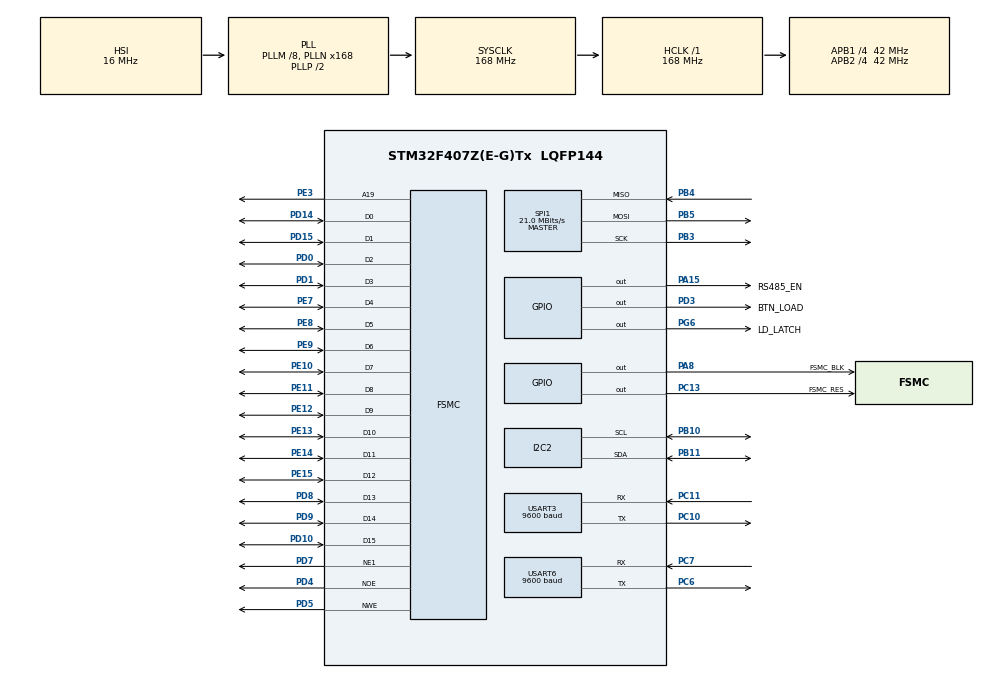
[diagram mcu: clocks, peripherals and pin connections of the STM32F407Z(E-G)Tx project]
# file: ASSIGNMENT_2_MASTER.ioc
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Dma.Request0=USART6_RX
Dma.USART6_RX.0.Direction=DMA_PERIPH_TO_MEMORY
Dma.USART6_RX.0.FIFOMode=DMA_FIFOMODE_DISABLE
Dma.USART6_RX.0.Instance=DMA2_Stream1
Dma.USART6_RX.0.MemDataAlignment=DMA_MDATAALIGN_BYTE
Dma.USART6_RX.0.MemInc=DMA_MINC_ENABLE
Dma.USART6_RX.0.Mode=DMA_CIRCULAR
Dma.USART6_RX.0.PeriphDataAlignment=DMA_PDATAALIGN_BYTE
Dma.USART6_RX.0.PeriphInc=DMA_PINC_DISABLE
Dma.USART6_RX.0.Priority=DMA_PRIORITY_LOW
FSMC.AddressSetupTime1=0xf
FSMC.BusTurnAroundDuration1=0
FSMC.DataSetupTime1=60
FSMC.ExtendedAddressSetupTime1=8
FSMC.ExtendedBusTurnAroundDuration1=0
FSMC.ExtendedDataSetupTime1=9
FSMC.ExtendedMode1=FSMC_EXTENDED_MODE_ENABLE
I2C2.OwnAddress=0
Mcu.Family=STM32F4
Mcu.Name=STM32F407Z(E-G)Tx
Mcu.Package=LQFP144
NVIC.DMA2_Stream1_IRQn=true\:0\:0\:false\:false\:true\:false\:true\:true
NVIC.I2C2_ER_IRQn=true\:0\:0\:false\:false\:true\:true\:true\:true
NVIC.I2C2_EV_IRQn=true\:0\:0\:false\:false\:true\:true\:true\:true
NVIC.PriorityGroup=NVIC_PRIORITYGROUP_4
NVIC.TIM2_IRQn=true\:0\:0\:false\:false\:true\:true\:true\:true
NVIC.USART3_IRQn=true\:0\:0\:false\:false\:true\:true\:true\:true
NVIC.USART6_IRQn=true\:0\:0\:false\:false\:true\:true\:true\:true
PA13.Mode=Serial_Wire
PA13.Signal=SYS_JTMS-SWDIO
PA14.Mode=Serial_Wire
PA14.Signal=SYS_JTCK-SWCLK
PA15.GPIO_Label=RS485_EN
PA15.Signal=GPIO_Output
PA8.GPIO_Label=FSMC_BLK
PA8.Signal=GPIO_Output
PB10.GPIO_Pu=GPIO_PULLUP
PB10.Mode=I2C
PB10.Signal=I2C2_SCL
PB11.GPIO_Pu=GPIO_PULLUP
PB11.Mode=I2C
PB11.Signal=I2C2_SDA
PB3.Mode=Full_Duplex_Master
PB3.Signal=SPI1_SCK
PB4.Mode=Full_Duplex_Master
PB4.Signal=SPI1_MISO
PB5.Mode=Full_Duplex_Master
PB5.Signal=SPI1_MOSI
PC10.Mode=Asynchronous
PC10.Signal=USART3_TX
PC11.Mode=Asynchronous
PC11.Signal=USART3_RX
PC13-ANTI_TAMP.GPIO_Label=FSMC_RES
PC13-ANTI_TAMP.Signal=GPIO_Output
PC6.Mode=Asynchronous
PC6.Signal=USART6_TX
PC7.Mode=Asynchronous
PC7.Signal=USART6_RX
PD0.Signal=FSMC_D2_DA2
PD1.Signal=FSMC_D3_DA3
PD10.Signal=FSMC_D15_DA15
PD14.Signal=FSMC_D0_DA0
PD15.Signal=FSMC_D1_DA1
PD3.GPIO_Label=BTN_LOAD
PD3.Signal=GPIO_Output
PD4.Signal=FSMC_NOE
PD5.Signal=FSMC_NWE
PD7.Mode=NorPsramChipSelect1_1
PD7.Signal=FSMC_NE1
PD8.Signal=FSMC_D13_DA13
PD9.Signal=FSMC_D14_DA14
PE10.Signal=FSMC_D7_DA7
PE11.Signal=FSMC_D8_DA8
PE12.Signal=FSMC_D9_DA9
PE13.Signal=FSMC_D10_DA10
PE14.Signal=FSMC_D11_DA11
PE15.Signal=FSMC_D12_DA12
PE3.Signal=FSMC_A19
PE7.Signal=FSMC_D4_DA4
PE8.Signal=FSMC_D5_DA5
PE9.Signal=FSMC_D6_DA6
PG6.GPIO_Label=LD_LATCH
PG6.Signal=GPIO_Output
PH0-OSC_IN.Mode=HSE-External-Oscillator
PH0-OSC_IN.Signal=RCC_OSC_IN
PH1-OSC_OUT.Mode=HSE-External-Oscillator
PH1-OSC_OUT.Signal=RCC_OSC_OUT
ProjectManager.HeapSize=0x200
ProjectManager.StackSize=0x400
ProjectManager.TargetToolchain=STM32CubeIDE
RCC.48MHZClocksFreq_Value=84000000
RCC.AHBFreq_Value=168000000
RCC.APB1CLKDivider=RCC_HCLK_DIV4
RCC.APB1Freq_Value=42000000
RCC.APB1TimFreq_Value=84000000
RCC.APB2CLKDivider=RCC_HCLK_DIV4
RCC.APB2Freq_Value=42000000
RCC.APB2TimFreq_Value=84000000
RCC.CortexFreq_Value=168000000
RCC.HCLKFreq_Value=168000000
RCC.HSE_VALUE=25000000
RCC.HSI_VALUE=16000000
RCC.LSE_VALUE=32768
RCC.PLLM=8
RCC.PLLN=168
RCC.SYSCLKFreq_VALUE=168000000
RCC.SYSCLKSource=RCC_SYSCLKSOURCE_PLLCLK
RCC.VCOOutputFreq_Value=336000000
SH.FSMC_A19.0=FSMC_A19,A19_1
SH.FSMC_D0_DA0.0=FSMC_D0,16b-d1
SH.FSMC_D10_DA10.0=FSMC_D10,16b-d1
SH.FSMC_D11_DA11.0=FSMC_D11,16b-d1
SH.FSMC_D12_DA12.0=FSMC_D12,16b-d1
SH.FSMC_D13_DA13.0=FSMC_D13,16b-d1
SH.FSMC_D14_DA14.0=FSMC_D14,16b-d1
SH.FSMC_D15_DA15.0=FSMC_D15,16b-d1
SH.FSMC_D1_DA1.0=FSMC_D1,16b-d1
SH.FSMC_D2_DA2.0=FSMC_D2,16b-d1
SH.FSMC_D3_DA3.0=FSMC_D3,16b-d1
SH.FSMC_D4_DA4.0=FSMC_D4,16b-d1
SH.FSMC_D5_DA5.0=FSMC_D5,16b-d1
SH.FSMC_D6_DA6.0=FSMC_D6,16b-d1
SH.FSMC_D7_DA7.0=FSMC_D7,16b-d1
SH.FSMC_D8_DA8.0=FSMC_D8,16b-d1
SH.FSMC_D9_DA9.0=FSMC_D9,16b-d1
SH.FSMC_NOE.0=FSMC_NOE,Lcd1
SH.FSMC_NWE.0=FSMC_NWE,Lcd1
SPI1.CalculateBaudRate=21.0 MBits/s
SPI1.Direction=SPI_DIRECTION_2LINES
SPI1.Mode=SPI_MODE_MASTER
SPI1.VirtualType=VM_MASTER
TIM2.Prescaler=839
USART3.BaudRate=9600
USART3.VirtualMode=VM_ASYNC
USART6.BaudRate=9600
USART6.VirtualMode=VM_ASYNC
VP_TIM2_VS_ClockSourceINT.Mode=Internal
board=custom

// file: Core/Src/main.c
/* USER CODE BEGIN Header */
/**
  ******************************************************************************
  * @file           : main.c
  * @brief          : Main program body
  ******************************************************************************
  * @attention
  *
  * Copyright (c) 2026 STMicroelectronics.
  * All rights reserved.
  *
  * This software is licensed under terms that can be found in the LICENSE file
  * in the root directory of this software component.
  * If no LICENSE file comes with this software, it is provided AS-IS.
  *
  ******************************************************************************
  */
/* USER CODE END Header */
#include "main.h"
#include "dma.h"
#include "i2c.h"
#include "spi.h"
#include "tim.h"
#include "usart.h"
#include "gpio.h"
#include "fsmc.h"

/* USER CODE BEGIN Includes */
#include "bkit_config.h"
#include "lcd.h"
#include "hw_driver.h"
#include "bkit_app.h"
#include "stdio.h"
/* USER CODE END Includes */

void SystemClock_Config(void);

int main(void)
{

  /* MCU Configuration--------------------------------------------------------*/

  /* Reset of all peripherals, Initializes the Flash interface and the Systick. */
  HAL_Init();

  /* Configure the system clock */
  SystemClock_Config();

  /* Initialize all configured peripherals */
  MX_GPIO_Init();
  MX_DMA_Init();
  MX_USART3_UART_Init();
  MX_FSMC_Init();
  MX_SPI1_Init();
  MX_TIM2_Init();
  MX_I2C2_Init();
  MX_USART6_UART_Init();
  /* USER CODE BEGIN 2 */
    // 1. KHOI TAO PHAN CUNG DRIVER (QUAN TRONG)
    // Hàm này sẽ kích hoạt DMA Circular Receive
    hw_init();

    // 2. Init LCD
    lcd_init();
    lcd_clear(BLACK);
    lcd_show_string(10, 10,  "--- IoT MASTER ---", YELLOW, BLACK, 24, 0);

    #if (BKIT_PHY_INTERFACE == PHY_UART)
        lcd_show_string(10, 45,  "Mode: UART DMA", CYAN, BLACK, 24, 0);
    #else
        lcd_show_string(10, 45,  "Mode: I2C Master", CYAN, BLACK, 24, 0);
    #endif

    lcd_show_string(10, 80,  "Status: Running...", WHITE, BLACK, 16, 0);

    // Bien quan ly thoi gian (Non-blocking)
    uint32_t last_send_time = 0;
    uint32_t packet_sent_count = 0;

    /* USER CODE END 2 */

    /* Infinite loop */
    /* USER CODE BEGIN WHILE */
    while (1)
    {
        // --- TASK 1: GUI DU LIEU DINH KY (MOI 1000ms) ---
        // Thay vi dung HAL_Delay(1000) lam treo he thong, ta dung HAL_GetTick()
        if (HAL_GetTick() - last_send_time >= 1000)
        {
            last_send_time = HAL_GetTick();

            static float sim_temp = 25.0f; // Biến tĩnh lưu giá trị cũ

            // Tăng nhiệt độ thêm 0.5 độ mỗi lần
            sim_temp += 0.5f;

            // Nếu nóng quá (> 40 độ) thì reset về 25 cho mát
           if (sim_temp > 40.0f) {
        	   sim_temp = 25.0f;
           }

            // Tao du lieu gia
            sensor_data_t my_sensor;
            my_sensor.sensor_id = 1;
            my_sensor.temperature = sim_temp;
            my_sensor.timestamp = HAL_GetTick();

            // Gui tin nhan
            if (bkit_send_message(&my_sensor)) {
                packet_sent_count++;
                char buf[64];

                // Hien thi nhiet do gui di
                sprintf(buf, "Tx Temp: %.2f C   ", my_sensor.temperature);
                lcd_show_string(10, 110, buf, LIGHTBLUE, BLACK, 24, 0);

                // Hien thi so goi tin
                sprintf(buf, "Sent: %lu       ", packet_sent_count);
                lcd_show_string(10, 140, buf, GREEN, BLACK, 16, 0);
            } else {
                lcd_show_string(10, 140, "Sent: ERROR     ", RED, BLACK, 16, 0);
            }
        }

        // --- TASK 2: KIEM TRA PHAN HOI TU SLAVE (LIEN TUC) ---
        // Vi Master da dung DMA Ring Buffer, ta co the check lien tuc ma khong so mat du lieu
        sensor_data_t response_data;
        if (bkit_receive_message(&response_data)) {
            // Neu Slave co gui gi do ve, hien thi len LCD
            char buf[64];
            sprintf(buf, "Rx ID: %lu          ", response_data.sensor_id);
            lcd_show_string(10, 170, buf, BLUE, BLACK, 16, 0);
        }

        // Vong lap nay chay tu do, khong bi Block boi HAL_Delay
        // Giup Master xu ly duoc nhieu viec cung luc
    }
    /* USER CODE END WHILE */

}

void SystemClock_Config(void)
{
  RCC_OscInitTypeDef RCC_OscInitStruct = {0};
  RCC_ClkInitTypeDef RCC_ClkInitStruct = {0};

  /** Configure the main internal regulator output voltage
  */
  __HAL_RCC_PWR_CLK_ENABLE();
  __HAL_PWR_VOLTAGESCALING_CONFIG(PWR_REGULATOR_VOLTAGE_SCALE1);

  /** Initializes the RCC Oscillators according to the specified parameters
  * in the RCC_OscInitTypeDef structure.
  */
  RCC_OscInitStruct.OscillatorType = RCC_OSCILLATORTYPE_HSI;
  RCC_OscInitStruct.HSIState = RCC_HSI_ON;
  RCC_OscInitStruct.HSICalibrationValue = RCC_HSICALIBRATION_DEFAULT;
  RCC_OscInitStruct.PLL.PLLState = RCC_PLL_ON;
  RCC_OscInitStruct.PLL.PLLSource = RCC_PLLSOURCE_HSI;
  RCC_OscInitStruct.PLL.PLLM = 8;
  RCC_OscInitStruct.PLL.PLLN = 168;
  RCC_OscInitStruct.PLL.PLLP = RCC_PLLP_DIV2;
  RCC_OscInitStruct.PLL.PLLQ = 4;
  if (HAL_RCC_OscConfig(&RCC_OscInitStruct) != HAL_OK)
  {
    Error_Handler();
  }

  /** Initializes the CPU, AHB and APB buses clocks
  */
  RCC_ClkInitStruct.ClockType = RCC_CLOCKTYPE_HCLK|RCC_CLOCKTYPE_SYSCLK
                              |RCC_CLOCKTYPE_PCLK1|RCC_CLOCKTYPE_PCLK2;
  RCC_ClkInitStruct.SYSCLKSource = RCC_SYSCLKSOURCE_PLLCLK;
  RCC_ClkInitStruct.AHBCLKDivider = RCC_SYSCLK_DIV1;
  RCC_ClkInitStruct.APB1CLKDivider = RCC_HCLK_DIV4;
  RCC_ClkInitStruct.APB2CLKDivider = RCC_HCLK_DIV4;

  if (HAL_RCC_ClockConfig(&RCC_ClkInitStruct, FLASH_LATENCY_5) != HAL_OK)
  {
    Error_Handler();
  }
}

void Error_Handler(void)
{
  __disable_irq();
  while (1)
  {
  }
}
